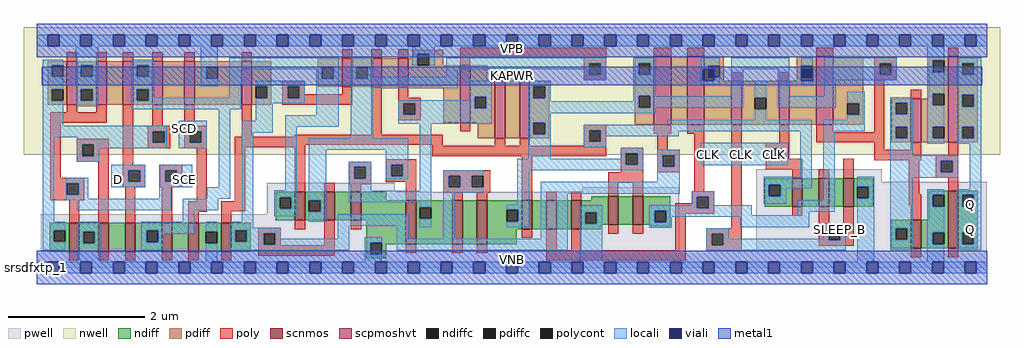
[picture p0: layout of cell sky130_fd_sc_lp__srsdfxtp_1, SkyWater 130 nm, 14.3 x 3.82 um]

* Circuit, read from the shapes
.subckt sky130_fd_sc_lp__srsdfxtp_1 CLK D SCD SCE SLEEP_B KAPWR VGND VNB VPB VPWR Q
XM1 VGND SCE n1 VNB sky130_fd_pr__nfet_01v8 w=0.42 l=0.15
XM2 n2 n1 VGND VNB sky130_fd_pr__nfet_01v8 w=0.42 l=0.15
XM3 n3 D n2 VNB sky130_fd_pr__nfet_01v8 w=0.42 l=0.15
XM4 n4 SCE n3 VNB sky130_fd_pr__nfet_01v8 w=0.42 l=0.15
XM5 VGND SCD n4 VNB sky130_fd_pr__nfet_01v8 w=0.42 l=0.15
XM6 n5 n6 VGND VNB sky130_fd_pr__nfet_01v8 w=0.42 l=0.15
XM7 n7 n6 n3 VNB sky130_fd_pr__nfet_01v8 w=0.42 l=0.15
XM8 n8 n5 n7 VNB sky130_fd_pr__nfet_01v8 w=0.42 l=0.15
XM9 VGND n9 n8 VNB sky130_fd_pr__nfet_01v8 w=0.42 l=0.15
XM10 n9 n7 VGND VNB sky130_fd_pr__nfet_01v8 w=0.64 l=0.15
XM11 n10 n5 n9 VNB sky130_fd_pr__nfet_01v8 w=0.64 l=0.15
XM12 n11 n5 n10 VNB sky130_fd_pr__nfet_01v8 w=0.64 l=0.15
XM13 n12 n6 n11 VNB sky130_fd_pr__nfet_01v8 w=0.42 l=0.15
XM14 n13 n14 n12 VNB sky130_fd_pr__nfet_01v8 w=0.42 l=0.15
XM15 VGND n14 n13 VNB sky130_fd_pr__nfet_01v8 w=0.42 l=0.15
XM16 n15 n11 VGND VNB sky130_fd_pr__nfet_01v8 w=0.42 l=0.15
XM17 n14 n11 n15 VNB sky130_fd_pr__nfet_01v8 w=0.42 l=0.15
XM18 n16 CLK n6 VNB sky130_fd_pr__nfet_01v8 w=0.42 l=0.15
XM19 n17 SLEEP_B n16 VNB sky130_fd_pr__nfet_01v8 w=0.42 l=0.15
XM20 VGND SLEEP_B n17 VNB sky130_fd_pr__nfet_01v8 w=0.42 l=0.15
XM21 VGND n11 n18 VNB sky130_fd_pr__nfet_01v8 w=0.42 l=0.15
XM22 Q n18 VGND VNB sky130_fd_pr__nfet_01v8 w=0.84 l=0.15
XM23 VPWR SCE n1 VPB sky130_fd_pr__pfet_01v8_hvt w=0.64 l=0.15
XM24 n19 SCE VPWR VPB sky130_fd_pr__pfet_01v8_hvt w=0.64 l=0.15
XM25 n3 D n19 VPB sky130_fd_pr__pfet_01v8_hvt w=0.64 l=0.15
XM26 n20 n1 n3 VPB sky130_fd_pr__pfet_01v8_hvt w=0.64 l=0.15
XM27 VPWR SCD n20 VPB sky130_fd_pr__pfet_01v8_hvt w=0.64 l=0.15
XM28 n5 n6 VPWR VPB sky130_fd_pr__pfet_01v8_hvt w=0.64 l=0.15
XM29 n7 n5 n3 VPB sky130_fd_pr__pfet_01v8_hvt w=0.42 l=0.15
XM30 n21 n6 n7 VPB sky130_fd_pr__pfet_01v8_hvt w=0.42 l=0.15
XM31 VPWR n9 n21 VPB sky130_fd_pr__pfet_01v8_hvt w=0.42 l=0.15
XM32 n9 n7 VPWR VPB sky130_fd_pr__pfet_01v8_hvt w=0.84 l=0.15
XM33 n22 n6 n9 VPB sky130_fd_pr__pfet_01v8_hvt w=0.84 l=0.15
XM34 n11 n6 n22 VPB sky130_fd_pr__pfet_01v8_hvt w=0.84 l=0.15
XM35 n23 n5 n11 VPB sky130_fd_pr__pfet_01v8_hvt w=1 l=0.25
XM36 KAPWR n14 n23 VPB sky130_fd_pr__pfet_01v8_hvt w=1 l=0.25
XM37 n6 SLEEP_B KAPWR VPB sky130_fd_pr__pfet_01v8_hvt w=0.64 l=0.15
XM38 KAPWR CLK n6 VPB sky130_fd_pr__pfet_01v8_hvt w=0.64 l=0.15
XM39 n14 n11 KAPWR VPB sky130_fd_pr__pfet_01v8_hvt w=1 l=0.25
XM40 VPWR n11 n18 VPB sky130_fd_pr__pfet_01v8_hvt w=0.64 l=0.15
XM41 Q n18 VPWR VPB sky130_fd_pr__pfet_01v8_hvt w=1.26 l=0.15
.ends

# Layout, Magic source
magic
tech sky130A
magscale 1 2
<< nwell >>
rect -38 331 2822 704
<< pwell >>
rect 2107 251 2476 288
rect 673 223 1049 249
rect 1598 223 1882 235
rect 673 157 1882 223
rect 11 49 1882 157
rect 2107 49 2783 251
rect 0 0 2784 49
<< scnmos >>
rect 756 139 786 223
rect 842 139 872 223
rect 920 139 950 223
rect 94 47 124 131
rect 180 47 210 131
rect 258 47 288 131
rect 366 47 396 131
rect 444 47 474 131
rect 540 47 570 131
rect 1081 69 1111 197
rect 1217 69 1247 197
rect 1289 69 1319 197
rect 1421 113 1451 197
rect 1493 113 1523 197
rect 1565 113 1595 197
rect 1674 125 1704 209
rect 1746 125 1776 209
rect 2213 178 2243 262
rect 2291 178 2321 262
rect 2363 178 2393 262
rect 2561 57 2591 141
rect 2670 57 2700 225
<< scpmoshvt >>
rect 88 477 118 605
rect 174 477 204 605
rect 252 477 282 605
rect 338 477 368 605
rect 432 477 462 605
rect 600 477 630 605
rect 894 530 924 614
rect 980 530 1010 614
rect 1058 530 1088 614
rect 1240 425 1270 593
rect 1342 379 1372 547
rect 1414 379 1444 547
rect 1808 419 1858 619
rect 1906 419 1956 619
rect 2035 419 2065 547
rect 2175 419 2205 547
rect 2284 419 2334 619
rect 2561 367 2591 495
rect 2670 367 2700 619
<< ndiff >>
rect 699 206 756 223
rect 699 172 711 206
rect 745 172 756 206
rect 699 139 756 172
rect 786 198 842 223
rect 786 164 797 198
rect 831 164 842 198
rect 786 139 842 164
rect 872 139 920 223
rect 950 197 1023 223
rect 1624 197 1674 209
rect 950 139 1081 197
rect 37 110 94 131
rect 37 76 49 110
rect 83 76 94 110
rect 37 47 94 76
rect 124 105 180 131
rect 124 71 135 105
rect 169 71 180 105
rect 124 47 180 71
rect 210 47 258 131
rect 288 109 366 131
rect 288 75 321 109
rect 355 75 366 109
rect 288 47 366 75
rect 396 47 444 131
rect 474 105 540 131
rect 474 71 495 105
rect 529 71 540 105
rect 474 47 540 71
rect 570 110 626 131
rect 570 76 581 110
rect 615 76 626 110
rect 570 47 626 76
rect 965 73 1081 139
rect 965 39 977 73
rect 1011 69 1081 73
rect 1111 177 1217 197
rect 1111 143 1122 177
rect 1156 143 1217 177
rect 1111 69 1217 143
rect 1247 69 1289 197
rect 1319 169 1421 197
rect 1319 135 1376 169
rect 1410 135 1421 169
rect 1319 113 1421 135
rect 1451 113 1493 197
rect 1523 113 1565 197
rect 1595 163 1674 197
rect 1595 129 1606 163
rect 1640 129 1674 163
rect 1595 125 1674 129
rect 1704 125 1746 209
rect 1776 167 1856 209
rect 1776 133 1810 167
rect 1844 133 1856 167
rect 1776 125 1856 133
rect 1595 113 1652 125
rect 1319 69 1406 113
rect 1011 39 1023 69
rect 1798 121 1856 125
rect 2133 243 2213 262
rect 2133 209 2145 243
rect 2179 209 2213 243
rect 2133 178 2213 209
rect 2243 178 2291 262
rect 2321 178 2363 262
rect 2393 237 2450 262
rect 2393 203 2404 237
rect 2438 203 2450 237
rect 2393 178 2450 203
rect 965 27 1023 39
rect 2613 213 2670 225
rect 2613 179 2625 213
rect 2659 179 2670 213
rect 2613 141 2670 179
rect 2504 116 2561 141
rect 2504 82 2516 116
rect 2550 82 2561 116
rect 2504 57 2561 82
rect 2591 103 2670 141
rect 2591 69 2625 103
rect 2659 69 2670 103
rect 2591 57 2670 69
rect 2700 213 2757 225
rect 2700 179 2711 213
rect 2745 179 2757 213
rect 2700 103 2757 179
rect 2700 69 2711 103
rect 2745 69 2757 103
rect 2700 57 2757 69
<< pdiff >>
rect 1103 627 1190 639
rect 1103 614 1115 627
rect 31 593 88 605
rect 31 559 43 593
rect 77 559 88 593
rect 31 523 88 559
rect 31 489 43 523
rect 77 489 88 523
rect 31 477 88 489
rect 118 593 174 605
rect 118 559 129 593
rect 163 559 174 593
rect 118 523 174 559
rect 118 489 129 523
rect 163 489 174 523
rect 118 477 174 489
rect 204 477 252 605
rect 282 593 338 605
rect 282 559 293 593
rect 327 559 338 593
rect 282 523 338 559
rect 282 489 293 523
rect 327 489 338 523
rect 282 477 338 489
rect 368 477 432 605
rect 462 587 600 605
rect 462 553 496 587
rect 530 553 600 587
rect 462 477 600 553
rect 630 531 687 605
rect 823 587 894 614
rect 823 553 835 587
rect 869 553 894 587
rect 630 497 641 531
rect 675 497 687 531
rect 630 477 687 497
rect 823 530 894 553
rect 924 587 980 614
rect 924 553 935 587
rect 969 553 980 587
rect 924 530 980 553
rect 1010 530 1058 614
rect 1088 593 1115 614
rect 1149 593 1190 627
rect 1088 530 1240 593
rect 1190 425 1240 530
rect 1270 547 1320 593
rect 1751 599 1808 619
rect 1751 565 1763 599
rect 1797 565 1808 599
rect 1270 501 1342 547
rect 1270 467 1283 501
rect 1317 467 1342 501
rect 1270 425 1342 467
rect 1292 379 1342 425
rect 1372 379 1414 547
rect 1444 531 1501 547
rect 1444 497 1455 531
rect 1489 497 1501 531
rect 1444 425 1501 497
rect 1444 391 1455 425
rect 1489 391 1501 425
rect 1751 503 1808 565
rect 1751 469 1763 503
rect 1797 469 1808 503
rect 1751 419 1808 469
rect 1858 419 1906 619
rect 1956 592 2013 619
rect 1956 558 1967 592
rect 2001 558 2013 592
rect 2227 592 2284 619
rect 1956 547 2013 558
rect 2227 558 2239 592
rect 2273 558 2284 592
rect 2227 547 2284 558
rect 1956 419 2035 547
rect 2065 498 2175 547
rect 2065 464 2103 498
rect 2137 464 2175 498
rect 2065 419 2175 464
rect 2205 419 2284 547
rect 2334 482 2421 619
rect 2334 448 2375 482
rect 2409 448 2421 482
rect 2334 419 2421 448
rect 2613 607 2670 619
rect 2613 573 2625 607
rect 2659 573 2670 607
rect 1444 379 1501 391
rect 2613 510 2670 573
rect 2613 495 2625 510
rect 2504 483 2561 495
rect 2504 449 2516 483
rect 2550 449 2561 483
rect 2504 413 2561 449
rect 2504 379 2516 413
rect 2550 379 2561 413
rect 2504 367 2561 379
rect 2591 476 2625 495
rect 2659 476 2670 510
rect 2591 413 2670 476
rect 2591 379 2625 413
rect 2659 379 2670 413
rect 2591 367 2670 379
rect 2700 599 2757 619
rect 2700 565 2711 599
rect 2745 565 2757 599
rect 2700 506 2757 565
rect 2700 472 2711 506
rect 2745 472 2757 506
rect 2700 413 2757 472
rect 2700 379 2711 413
rect 2745 379 2757 413
rect 2700 367 2757 379
<< ndiffc >>
rect 711 172 745 206
rect 797 164 831 198
rect 49 76 83 110
rect 135 71 169 105
rect 321 75 355 109
rect 495 71 529 105
rect 581 76 615 110
rect 977 39 1011 73
rect 1122 143 1156 177
rect 1376 135 1410 169
rect 1606 129 1640 163
rect 1810 133 1844 167
rect 2145 209 2179 243
rect 2404 203 2438 237
rect 2625 179 2659 213
rect 2516 82 2550 116
rect 2625 69 2659 103
rect 2711 179 2745 213
rect 2711 69 2745 103
<< pdiffc >>
rect 43 559 77 593
rect 43 489 77 523
rect 129 559 163 593
rect 129 489 163 523
rect 293 559 327 593
rect 293 489 327 523
rect 496 553 530 587
rect 835 553 869 587
rect 641 497 675 531
rect 935 553 969 587
rect 1115 593 1149 627
rect 1763 565 1797 599
rect 1283 467 1317 501
rect 1455 497 1489 531
rect 1455 391 1489 425
rect 1763 469 1797 503
rect 1967 558 2001 592
rect 2239 558 2273 592
rect 2103 464 2137 498
rect 2375 448 2409 482
rect 2625 573 2659 607
rect 2516 449 2550 483
rect 2516 379 2550 413
rect 2625 476 2659 510
rect 2625 379 2659 413
rect 2711 565 2745 599
rect 2711 472 2745 506
rect 2711 379 2745 413
<< poly >>
rect 88 605 118 631
rect 174 605 204 631
rect 252 605 282 631
rect 338 605 368 631
rect 432 605 462 631
rect 600 605 630 631
rect 894 614 924 640
rect 980 614 1010 640
rect 1058 614 1088 640
rect 719 531 785 547
rect 719 497 735 531
rect 769 508 785 531
rect 1240 615 1668 645
rect 1808 619 1858 645
rect 1906 619 1956 645
rect 2284 619 2334 645
rect 2670 619 2700 645
rect 1240 593 1270 615
rect 1602 599 1668 615
rect 894 508 924 530
rect 769 497 924 508
rect 719 478 924 497
rect 88 455 118 477
rect 174 455 204 477
rect 39 425 204 455
rect 39 263 69 425
rect 117 361 210 377
rect 117 327 133 361
rect 167 327 210 361
rect 117 311 210 327
rect 39 247 138 263
rect 39 213 88 247
rect 122 213 138 247
rect 39 197 138 213
rect 94 131 124 197
rect 180 131 210 311
rect 252 302 282 477
rect 338 416 368 477
rect 432 416 462 477
rect 324 400 390 416
rect 324 366 340 400
rect 374 366 390 400
rect 324 350 390 366
rect 432 400 498 416
rect 432 366 448 400
rect 482 366 498 400
rect 600 383 630 477
rect 980 390 1010 530
rect 1058 498 1088 530
rect 1058 482 1124 498
rect 1058 448 1074 482
rect 1108 448 1124 482
rect 1058 432 1124 448
rect 1342 547 1372 573
rect 1414 547 1444 573
rect 1602 565 1618 599
rect 1652 565 1668 599
rect 1602 549 1668 565
rect 1240 399 1270 425
rect 756 383 1189 390
rect 432 350 498 366
rect 252 286 318 302
rect 252 252 268 286
rect 302 252 318 286
rect 252 236 318 252
rect 360 286 426 302
rect 360 252 376 286
rect 410 252 426 286
rect 360 236 426 252
rect 258 131 288 236
rect 366 131 396 236
rect 468 194 498 350
rect 580 360 1189 383
rect 2035 547 2065 573
rect 2175 547 2205 573
rect 2453 599 2519 615
rect 2453 565 2469 599
rect 2503 565 2519 599
rect 2453 549 2519 565
rect 1602 403 1668 419
rect 580 353 786 360
rect 580 195 610 353
rect 756 223 786 353
rect 1159 357 1189 360
rect 1342 357 1372 379
rect 1414 357 1444 379
rect 1602 369 1618 403
rect 1652 369 1668 403
rect 1808 393 1858 419
rect 1906 393 1956 419
rect 1602 357 1668 369
rect 1159 327 1668 357
rect 1710 335 1776 351
rect 914 295 980 311
rect 914 261 930 295
rect 964 261 980 295
rect 842 223 872 249
rect 914 245 980 261
rect 1022 302 1111 318
rect 1022 268 1038 302
rect 1072 268 1111 302
rect 1022 252 1111 268
rect 920 223 950 245
rect 444 164 498 194
rect 540 165 610 195
rect 444 131 474 164
rect 540 131 570 165
rect 1081 197 1111 252
rect 1190 269 1328 285
rect 1190 235 1206 269
rect 1240 235 1274 269
rect 1308 235 1328 269
rect 1190 219 1328 235
rect 1217 197 1247 219
rect 1289 197 1319 219
rect 1421 197 1451 327
rect 1710 301 1726 335
rect 1760 301 1776 335
rect 1710 279 1776 301
rect 1818 345 1848 393
rect 1818 329 1884 345
rect 1818 295 1834 329
rect 1868 295 1884 329
rect 1818 279 1884 295
rect 1674 249 1776 279
rect 1493 197 1523 223
rect 1565 197 1595 223
rect 1674 209 1704 249
rect 1746 209 1776 249
rect 1926 224 1956 393
rect 648 101 714 117
rect 756 113 786 139
rect 648 67 664 101
rect 698 67 714 101
rect 648 65 714 67
rect 842 65 872 139
rect 920 113 950 139
rect 94 21 124 47
rect 180 21 210 47
rect 258 21 288 47
rect 366 21 396 47
rect 444 21 474 47
rect 540 21 570 47
rect 648 35 872 65
rect 1918 208 1984 224
rect 1918 188 1934 208
rect 1421 87 1451 113
rect 1081 43 1111 69
rect 1217 43 1247 69
rect 1289 43 1319 69
rect 1493 51 1523 113
rect 1565 51 1595 113
rect 1674 99 1704 125
rect 1746 99 1776 125
rect 1871 174 1934 188
rect 1968 174 1984 208
rect 1871 158 1984 174
rect 1871 51 1901 158
rect 2035 116 2065 419
rect 2175 366 2205 419
rect 2284 397 2334 419
rect 2453 397 2483 549
rect 2561 495 2591 521
rect 2284 367 2483 397
rect 2136 350 2205 366
rect 2136 316 2152 350
rect 2186 319 2205 350
rect 2453 345 2483 367
rect 2561 345 2591 367
rect 2186 316 2243 319
rect 2136 289 2243 316
rect 2213 262 2243 289
rect 2291 262 2321 288
rect 2363 262 2393 319
rect 2453 315 2591 345
rect 2670 329 2700 367
rect 2555 215 2585 315
rect 2633 313 2700 329
rect 2633 279 2649 313
rect 2683 279 2700 313
rect 2633 263 2700 279
rect 2670 225 2700 263
rect 2555 185 2591 215
rect 2213 152 2243 178
rect 1493 21 1901 51
rect 1961 100 2065 116
rect 1961 66 1977 100
rect 2011 66 2065 100
rect 1961 50 2065 66
rect 2291 130 2321 178
rect 2363 130 2393 178
rect 2561 141 2591 185
rect 2291 114 2393 130
rect 2291 80 2320 114
rect 2354 80 2393 114
rect 2291 64 2393 80
rect 2561 31 2591 57
rect 2670 31 2700 57
<< polycont >>
rect 735 497 769 531
rect 133 327 167 361
rect 88 213 122 247
rect 340 366 374 400
rect 448 366 482 400
rect 1074 448 1108 482
rect 1618 565 1652 599
rect 268 252 302 286
rect 376 252 410 286
rect 2469 565 2503 599
rect 1618 369 1652 403
rect 930 261 964 295
rect 1038 268 1072 302
rect 1206 235 1240 269
rect 1274 235 1308 269
rect 1726 301 1760 335
rect 1834 295 1868 329
rect 664 67 698 101
rect 1934 174 1968 208
rect 2152 316 2186 350
rect 2649 279 2683 313
rect 1977 66 2011 100
rect 2320 80 2354 114
<< locali >>
rect 0 649 31 683
rect 65 649 127 683
rect 161 649 223 683
rect 257 649 319 683
rect 353 649 415 683
rect 449 649 511 683
rect 545 649 607 683
rect 641 649 703 683
rect 737 649 799 683
rect 833 649 895 683
rect 929 649 991 683
rect 1025 649 1087 683
rect 1121 649 1183 683
rect 1217 649 1279 683
rect 1313 649 1375 683
rect 1409 649 1471 683
rect 1505 649 1567 683
rect 1601 649 1663 683
rect 1697 649 1759 683
rect 1793 649 1855 683
rect 1889 649 1951 683
rect 1985 649 2047 683
rect 2081 649 2143 683
rect 2177 649 2239 683
rect 2273 649 2335 683
rect 2369 649 2431 683
rect 2465 649 2527 683
rect 2561 649 2623 683
rect 2657 649 2719 683
rect 2753 649 2784 683
rect 17 593 77 609
rect 17 559 43 593
rect 17 523 77 559
rect 17 489 43 523
rect 17 416 77 489
rect 113 593 179 649
rect 113 559 129 593
rect 163 559 179 593
rect 113 523 179 559
rect 113 489 129 523
rect 163 489 179 523
rect 113 473 179 489
rect 277 593 343 609
rect 277 559 293 593
rect 327 559 343 593
rect 277 523 343 559
rect 480 587 530 649
rect 1099 627 1165 649
rect 480 553 496 587
rect 480 532 530 553
rect 564 587 885 615
rect 564 581 835 587
rect 277 489 293 523
rect 327 498 343 523
rect 564 498 598 581
rect 819 553 835 581
rect 869 553 885 587
rect 327 489 598 498
rect 277 464 598 489
rect 641 531 785 547
rect 675 497 735 531
rect 769 497 785 531
rect 641 481 785 497
rect 17 400 381 416
rect 17 382 340 400
rect 17 135 51 382
rect 117 366 340 382
rect 374 366 381 400
rect 117 361 381 366
rect 117 327 133 361
rect 167 350 381 361
rect 415 400 498 430
rect 415 366 448 400
rect 482 366 498 400
rect 415 350 498 366
rect 167 327 183 350
rect 117 311 183 327
rect 217 286 318 302
rect 85 247 151 263
rect 85 213 88 247
rect 122 213 151 247
rect 217 252 268 286
rect 302 252 318 286
rect 217 236 318 252
rect 359 286 455 302
rect 359 252 376 286
rect 410 252 455 286
rect 359 236 455 252
rect 532 236 566 464
rect 641 430 691 481
rect 819 447 885 553
rect 85 202 151 213
rect 359 202 393 236
rect 497 202 566 236
rect 600 396 691 430
rect 727 413 885 447
rect 919 587 985 615
rect 1099 593 1115 627
rect 1149 593 1165 627
rect 1199 599 1668 615
rect 919 553 935 587
rect 969 559 985 587
rect 1199 581 1618 599
rect 1199 559 1233 581
rect 969 553 1233 559
rect 919 525 1233 553
rect 1602 565 1618 581
rect 1652 565 1668 599
rect 1602 549 1668 565
rect 1747 599 1813 615
rect 1747 565 1763 599
rect 1797 565 1813 599
rect 85 197 393 202
rect 117 168 393 197
rect 427 168 531 202
rect 17 110 83 135
rect 427 134 461 168
rect 600 135 634 396
rect 727 227 761 413
rect 919 379 985 525
rect 1267 501 1333 547
rect 1267 491 1283 501
rect 1058 482 1283 491
rect 1058 448 1074 482
rect 1108 467 1283 482
rect 1317 467 1333 501
rect 1108 448 1333 467
rect 1058 421 1333 448
rect 1439 531 1505 547
rect 1439 497 1455 531
rect 1489 497 1505 531
rect 1439 487 1505 497
rect 1747 503 1813 565
rect 1945 592 2001 615
rect 1945 581 1967 592
rect 1945 547 1951 581
rect 1985 547 2001 558
rect 1945 536 2001 547
rect 2035 581 2205 615
rect 1747 487 1763 503
rect 1439 469 1763 487
rect 1797 502 1813 503
rect 2035 502 2069 581
rect 1797 469 2069 502
rect 1439 468 2069 469
rect 2103 498 2137 547
rect 1439 453 1813 468
rect 2171 502 2205 581
rect 2239 592 2273 615
rect 2239 536 2273 547
rect 2307 599 2519 615
rect 2307 565 2469 599
rect 2503 565 2519 599
rect 2307 549 2519 565
rect 2609 607 2659 649
rect 2609 573 2625 607
rect 2307 502 2341 549
rect 2171 468 2341 502
rect 2375 482 2425 515
rect 2609 510 2659 573
rect 1439 425 1505 453
rect 2103 434 2137 464
rect 2409 448 2425 482
rect 2375 434 2425 448
rect 695 206 761 227
rect 695 172 711 206
rect 745 172 761 206
rect 695 151 761 172
rect 797 345 1088 379
rect 797 198 847 345
rect 831 164 847 198
rect 914 295 980 311
rect 914 261 930 295
rect 964 261 980 295
rect 914 225 980 261
rect 1022 302 1088 345
rect 1022 268 1038 302
rect 1072 268 1088 302
rect 1022 259 1088 268
rect 1122 225 1156 421
rect 1439 391 1455 425
rect 1489 391 1505 425
rect 1847 419 2270 434
rect 1439 319 1505 391
rect 1602 403 2270 419
rect 1602 369 1618 403
rect 1652 400 2270 403
rect 1652 385 1881 400
rect 1652 369 1668 385
rect 1602 353 1668 369
rect 1710 335 1776 351
rect 1945 350 2202 366
rect 1710 319 1726 335
rect 1408 301 1726 319
rect 1760 301 1776 335
rect 1408 285 1776 301
rect 1818 329 1884 345
rect 1818 295 1834 329
rect 1868 295 1884 329
rect 1945 316 2152 350
rect 2186 316 2202 350
rect 1945 300 2202 316
rect 914 191 1156 225
rect 797 135 847 164
rect 1122 177 1156 191
rect 17 76 49 110
rect 17 51 83 76
rect 119 105 185 134
rect 119 71 135 105
rect 169 71 185 105
rect 119 17 185 71
rect 305 109 461 134
rect 305 75 321 109
rect 355 100 461 109
rect 495 105 529 134
rect 355 75 371 100
rect 305 51 371 75
rect 495 17 529 71
rect 565 117 634 135
rect 881 123 1088 157
rect 565 110 714 117
rect 565 76 581 110
rect 615 101 714 110
rect 615 76 664 101
rect 565 67 664 76
rect 698 85 714 101
rect 881 85 915 123
rect 698 67 915 85
rect 565 51 915 67
rect 961 73 1011 89
rect 961 39 977 73
rect 1054 85 1088 123
rect 1122 119 1156 143
rect 1190 269 1308 285
rect 1190 235 1206 269
rect 1240 235 1274 269
rect 1190 219 1308 235
rect 1190 85 1224 219
rect 1408 185 1442 285
rect 1818 251 1884 295
rect 2236 266 2270 400
rect 1376 169 1442 185
rect 1410 135 1442 169
rect 1376 119 1442 135
rect 1476 217 1884 251
rect 2129 243 2270 266
rect 1476 85 1556 217
rect 1918 208 1984 224
rect 1918 183 1934 208
rect 1054 51 1556 85
rect 1590 163 1656 183
rect 1590 129 1606 163
rect 1640 129 1656 163
rect 961 17 1011 39
rect 1590 17 1656 129
rect 1794 174 1934 183
rect 1968 183 1984 208
rect 2129 209 2145 243
rect 2179 232 2270 243
rect 2304 400 2425 434
rect 2500 483 2566 499
rect 2500 449 2516 483
rect 2550 449 2566 483
rect 2500 413 2566 449
rect 2179 209 2195 232
rect 2129 187 2195 209
rect 2304 198 2338 400
rect 2500 379 2516 413
rect 2550 379 2566 413
rect 2500 329 2566 379
rect 2609 476 2625 510
rect 2609 413 2659 476
rect 2609 379 2625 413
rect 2609 363 2659 379
rect 2695 599 2767 615
rect 2695 565 2711 599
rect 2745 565 2767 599
rect 2695 506 2767 565
rect 2695 472 2711 506
rect 2745 472 2767 506
rect 2695 413 2767 472
rect 2695 379 2711 413
rect 2745 379 2767 413
rect 2695 363 2767 379
rect 2500 313 2699 329
rect 2500 279 2649 313
rect 2683 279 2699 313
rect 1968 174 2095 183
rect 1794 167 2095 174
rect 1794 133 1810 167
rect 1844 153 2095 167
rect 2229 164 2338 198
rect 2404 237 2454 266
rect 2438 203 2454 237
rect 2229 153 2263 164
rect 1844 149 2263 153
rect 1844 133 1860 149
rect 1794 117 1860 133
rect 2061 119 2263 149
rect 1961 100 2027 115
rect 1961 66 1977 100
rect 2011 85 2027 100
rect 2304 114 2370 130
rect 2304 85 2320 114
rect 2011 80 2320 85
rect 2354 80 2370 114
rect 2011 66 2370 80
rect 1961 51 2370 66
rect 2404 17 2454 203
rect 2500 263 2699 279
rect 2500 116 2566 263
rect 2733 229 2767 363
rect 2500 82 2516 116
rect 2550 82 2566 116
rect 2500 53 2566 82
rect 2609 213 2659 229
rect 2609 179 2625 213
rect 2609 103 2659 179
rect 2609 69 2625 103
rect 2609 17 2659 69
rect 2695 213 2767 229
rect 2695 179 2711 213
rect 2745 179 2767 213
rect 2695 103 2767 179
rect 2695 69 2711 103
rect 2745 69 2767 103
rect 2695 53 2767 69
rect 0 -17 31 17
rect 65 -17 127 17
rect 161 -17 223 17
rect 257 -17 319 17
rect 353 -17 415 17
rect 449 -17 511 17
rect 545 -17 607 17
rect 641 -17 703 17
rect 737 -17 799 17
rect 833 -17 895 17
rect 929 -17 991 17
rect 1025 -17 1087 17
rect 1121 -17 1183 17
rect 1217 -17 1279 17
rect 1313 -17 1375 17
rect 1409 -17 1471 17
rect 1505 -17 1567 17
rect 1601 -17 1663 17
rect 1697 -17 1759 17
rect 1793 -17 1855 17
rect 1889 -17 1951 17
rect 1985 -17 2047 17
rect 2081 -17 2143 17
rect 2177 -17 2239 17
rect 2273 -17 2335 17
rect 2369 -17 2431 17
rect 2465 -17 2527 17
rect 2561 -17 2623 17
rect 2657 -17 2719 17
rect 2753 -17 2784 17
<< viali >>
rect 31 649 65 683
rect 127 649 161 683
rect 223 649 257 683
rect 319 649 353 683
rect 415 649 449 683
rect 511 649 545 683
rect 607 649 641 683
rect 703 649 737 683
rect 799 649 833 683
rect 895 649 929 683
rect 991 649 1025 683
rect 1087 649 1121 683
rect 1183 649 1217 683
rect 1279 649 1313 683
rect 1375 649 1409 683
rect 1471 649 1505 683
rect 1567 649 1601 683
rect 1663 649 1697 683
rect 1759 649 1793 683
rect 1855 649 1889 683
rect 1951 649 1985 683
rect 2047 649 2081 683
rect 2143 649 2177 683
rect 2239 649 2273 683
rect 2335 649 2369 683
rect 2431 649 2465 683
rect 2527 649 2561 683
rect 2623 649 2657 683
rect 2719 649 2753 683
rect 1951 558 1967 581
rect 1967 558 1985 581
rect 1951 547 1985 558
rect 2239 558 2273 581
rect 2239 547 2273 558
rect 31 -17 65 17
rect 127 -17 161 17
rect 223 -17 257 17
rect 319 -17 353 17
rect 415 -17 449 17
rect 511 -17 545 17
rect 607 -17 641 17
rect 703 -17 737 17
rect 799 -17 833 17
rect 895 -17 929 17
rect 991 -17 1025 17
rect 1087 -17 1121 17
rect 1183 -17 1217 17
rect 1279 -17 1313 17
rect 1375 -17 1409 17
rect 1471 -17 1505 17
rect 1567 -17 1601 17
rect 1663 -17 1697 17
rect 1759 -17 1793 17
rect 1855 -17 1889 17
rect 1951 -17 1985 17
rect 2047 -17 2081 17
rect 2143 -17 2177 17
rect 2239 -17 2273 17
rect 2335 -17 2369 17
rect 2431 -17 2465 17
rect 2527 -17 2561 17
rect 2623 -17 2657 17
rect 2719 -17 2753 17
<< metal1 >>
rect 0 683 2784 715
rect 0 649 31 683
rect 65 649 127 683
rect 161 649 223 683
rect 257 649 319 683
rect 353 649 415 683
rect 449 649 511 683
rect 545 649 607 683
rect 641 649 703 683
rect 737 649 799 683
rect 833 649 895 683
rect 929 649 991 683
rect 1025 649 1087 683
rect 1121 649 1183 683
rect 1217 649 1279 683
rect 1313 649 1375 683
rect 1409 649 1471 683
rect 1505 649 1567 683
rect 1601 649 1663 683
rect 1697 649 1759 683
rect 1793 649 1855 683
rect 1889 649 1951 683
rect 1985 649 2047 683
rect 2081 649 2143 683
rect 2177 649 2239 683
rect 2273 649 2335 683
rect 2369 649 2431 683
rect 2465 649 2527 683
rect 2561 649 2623 683
rect 2657 649 2719 683
rect 2753 649 2784 683
rect 0 617 2784 649
rect 14 581 2770 589
rect 14 547 1951 581
rect 1985 547 2239 581
rect 2273 547 2770 581
rect 14 535 2770 547
rect 0 17 2784 49
rect 0 -17 31 17
rect 65 -17 127 17
rect 161 -17 223 17
rect 257 -17 319 17
rect 353 -17 415 17
rect 449 -17 511 17
rect 545 -17 607 17
rect 641 -17 703 17
rect 737 -17 799 17
rect 833 -17 895 17
rect 929 -17 991 17
rect 1025 -17 1087 17
rect 1121 -17 1183 17
rect 1217 -17 1279 17
rect 1313 -17 1375 17
rect 1409 -17 1471 17
rect 1505 -17 1567 17
rect 1601 -17 1663 17
rect 1697 -17 1759 17
rect 1793 -17 1855 17
rect 1889 -17 1951 17
rect 1985 -17 2047 17
rect 2081 -17 2143 17
rect 2177 -17 2239 17
rect 2273 -17 2335 17
rect 2369 -17 2431 17
rect 2465 -17 2527 17
rect 2561 -17 2623 17
rect 2657 -17 2719 17
rect 2753 -17 2784 17
rect 0 -49 2784 -17
<< labels >>
flabel pwell s 0 0 2784 49 0 FreeSans 200 0 0 0 VNB
port 8 nsew ground bidirectional
flabel nwell s 0 617 2784 666 0 FreeSans 200 0 0 0 VPB
port 9 nsew power bidirectional
rlabel comment s 0 0 0 0 4 srsdfxtp_1
flabel metal1 s 14 535 2770 589 0 FreeSans 340 0 0 0 KAPWR
port 6 nsew power bidirectional
flabel metal1 s 0 617 2784 666 0 FreeSans 340 0 0 0 VPWR
port 10 nsew power bidirectional
flabel metal1 s 0 0 2784 49 0 FreeSans 340 0 0 0 VGND
port 7 nsew ground bidirectional
flabel locali s 2719 94 2753 128 0 FreeSans 340 0 0 0 Q
port 11 nsew signal output
flabel locali s 2719 168 2753 202 0 FreeSans 340 0 0 0 Q
port 11 nsew signal output
flabel locali s 1951 316 1985 350 0 FreeSans 340 0 0 0 CLK
port 1 nsew clock input
flabel locali s 2047 316 2081 350 0 FreeSans 340 0 0 0 CLK
port 1 nsew clock input
flabel locali s 2143 316 2177 350 0 FreeSans 340 0 0 0 CLK
port 1 nsew clock input
flabel locali s 415 390 449 424 0 FreeSans 340 0 0 0 SCD
port 3 nsew signal input
flabel locali s 223 242 257 276 0 FreeSans 340 0 0 0 D
port 2 nsew signal input
flabel locali s 2335 94 2369 128 0 FreeSans 340 0 0 0 SLEEP_B
port 5 nsew signal input
flabel locali s 415 242 449 276 0 FreeSans 340 0 0 0 SCE
port 4 nsew signal input
<< properties >>
string LEFsite unit
string LEFclass CORE
string FIXED_BBOX 0 0 2784 666
string GDS_FILE $PDKPATH/libs.ref/sky130_fd_sc_lp/gds/sky130_fd_sc_lp.gds
string LEFsymmetry X Y R90
string GDS_END 6342382
string GDS_START 6323742
<< end >>
